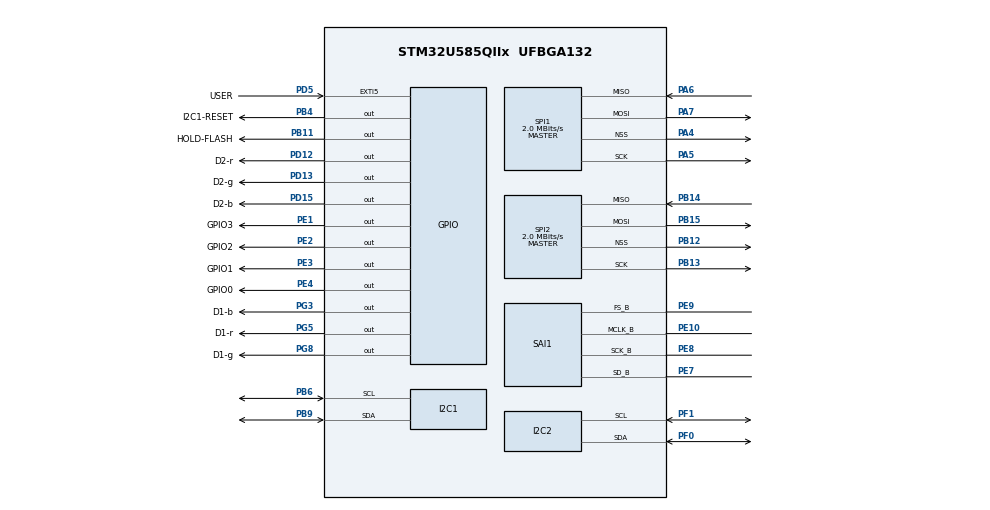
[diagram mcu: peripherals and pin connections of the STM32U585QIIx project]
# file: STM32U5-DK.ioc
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CORTEX_M33_NS.userName=CORTEX_M33
I2C1.Timing=0x00000E14
I2C2.Timing=0x00000E14
Mcu.Family=STM32U5
Mcu.Name=STM32U585QIIx
Mcu.Package=UFBGA132
NVIC.EXTI5_IRQn=true\:0\:0\:false\:false\:true\:true\:true
NVIC.PriorityGroup=NVIC_PRIORITYGROUP_4
PA13\ (JTMS/SWDIO).Mode=Trace_Asynchronous_SW
PA13\ (JTMS/SWDIO).Signal=DEBUG_JTMS-SWDIO
PA14\ (JTCK/SWCLK).Mode=Trace_Asynchronous_SW
PA14\ (JTCK/SWCLK).Signal=DEBUG_JTCK-SWCLK
PA4.Mode=NSS_Signal_Hard_Output
PA4.Signal=SPI1_NSS
PA5.Mode=Full_Duplex_Master
PA5.Signal=SPI1_SCK
PA6.Mode=Full_Duplex_Master
PA6.Signal=SPI1_MISO
PA7.Mode=Full_Duplex_Master
PA7.Signal=SPI1_MOSI
PB11.GPIO_Label=HOLD-FLASH
PB11.Signal=GPIO_Output
PB12.Mode=NSS_Signal_Hard_Output
PB12.Signal=SPI2_NSS
PB13.Mode=Full_Duplex_Master
PB13.Signal=SPI2_SCK
PB14.Mode=Full_Duplex_Master
PB14.Signal=SPI2_MISO
PB15.Mode=Full_Duplex_Master
PB15.Signal=SPI2_MOSI
PB3\ (JTDO/TRACESWO).Mode=Trace_Asynchronous_SW
PB3\ (JTDO/TRACESWO).Signal=DEBUG_JTDO-SWO
PB4\ (NJTRST).GPIO_Label=I2C1-RESET
PB4\ (NJTRST).Signal=GPIO_Output
PB6.Mode=I2C
PB6.Signal=I2C1_SCL
PB9.Mode=I2C
PB9.Signal=I2C1_SDA
PD12.GPIO_Label=D2-r
PD12.Signal=GPIO_Output
PD13.GPIO_Label=D2-g
PD13.Signal=GPIO_Output
PD15.GPIO_Label=D2-b
PD15.Signal=GPIO_Output
PD5.GPIO_Label=USER
PD5.GPIO_ModeDefaultEXTI=GPIO_MODE_IT_FALLING
PD5.Signal=GPXTI5
PE1.GPIO_Label=GPIO3
PE1.Signal=GPIO_Output
PE10.Mode=SAI_B_MasterWithClock
PE10.Signal=SAI1_MCLK_B
PE2.GPIO_Label=GPIO2
PE2.Signal=GPIO_Output
PE3.GPIO_Label=GPIO1
PE3.Signal=GPIO_Output
PE4.GPIO_Label=GPIO0
PE4.Signal=GPIO_Output
PE7.Mode=SAI_B_MasterWithClock
PE7.Signal=SAI1_SD_B
PE8.Mode=SAI_B_MasterWithClock
PE8.Signal=SAI1_SCK_B
PE9.Mode=SAI_B_MasterWithClock
PE9.Signal=SAI1_FS_B
PF0.Mode=I2C
PF0.Signal=I2C2_SDA
PF1.Mode=I2C
PF1.Signal=I2C2_SCL
PG3.GPIO_Label=D1-b
PG3.Signal=GPIO_Output
PG5.GPIO_Label=D1-r
PG5.Signal=GPIO_Output
PG8.GPIO_Label=D1-g
PG8.Signal=GPIO_Output
ProjectManager.HeapSize=0x200
ProjectManager.StackSize=0x400
ProjectManager.TargetToolchain=STM32CubeIDE
RCC.DACCLockSelectionVirtual=RCC_DAC1CLKSOURCE_LSI
RCC.DACCLockSelectionVirtualString=RCC_DAC1CLKSOURCE_LSI
RCC.EPOD_VALUE=4000000
RCC.HSE_VALUE=16000000
RCC.HSI48_VALUE=48000000
RCC.HSI_VALUE=16000000
RCC.LSE_VALUE=32768
RCC.LSIDIV_VALUE=32000
RCC.MSI_VALUE=4000000
RCC.PLL2P=4
RCC.USBFreq_Value=48000000
RCC.VCOOutputFreq_Value=516000000
SAI1.ErrorAudioFreq-SAI_B_MasterWithClock=31.22 %
SAI1.Instance-SAI_B_MasterWithClock=SAI$Index_Block_B
SAI1.MckOutput-SAI_B_MasterWithClock=SAI_MCK_OUTPUT_ENABLE
SAI1.RealAudioFreq-SAI_B_MasterWithClock=251.953 KHz
SAI1.VirtualMode-SAI_B_MasterWithClock=VM_MASTER
SPI1.CalculateBaudRate=2.0 MBits/s
SPI1.Direction=SPI_DIRECTION_2LINES
SPI1.Mode=SPI_MODE_MASTER
SPI1.VirtualNSS=VM_NSSHARD
SPI1.VirtualType=VM_MASTER
SPI2.CalculateBaudRate=2.0 MBits/s
SPI2.Direction=SPI_DIRECTION_2LINES
SPI2.Mode=SPI_MODE_MASTER
SPI2.VirtualNSS=VM_NSSHARD
SPI2.VirtualType=VM_MASTER
VP_PWR_VS_DBSignals.Mode=DisableDeadBatterySignals
VP_PWR_VS_SECSignals.Mode=Security/Privilege
board=custom

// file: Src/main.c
/* USER CODE BEGIN Header */
/**
  ******************************************************************************
  * @file           : main.c
  * @brief          : Main program body
  ******************************************************************************
  * @attention
  *
  * Copyright (c) 2022 STMicroelectronics.
  * All rights reserved.
  *
  * This software is licensed under terms that can be found in the LICENSE file
  * in the root directory of this software component.
  * If no LICENSE file comes with this software, it is provided AS-IS.
  *
  ******************************************************************************
  */
/* USER CODE END Header */
#include "main.h"
#include "HAL/i2c.h"
#include "HAL/sai.h"
#include "HAL/spi.h"
#include "HAL/gpio.h"

/* USER CODE BEGIN Includes */
#include "usb_device.h"
#include "manager/ledManager.h"
#include "manager/flashManager.h"
/* USER CODE END Includes */

/* USER CODE BEGIN PV */
uint8_t gpioChannel = 0;
RGBLEDColor userColor = {0};
/* USER CODE END PV */

void SystemClock_Config(void);

/* USER CODE BEGIN 0 */
void outputExternalGPIOs();
/* USER CODE END 0 */

int main(void)
{
  /* USER CODE BEGIN 1 */
    RGBLEDColor wakeUpColor = {0, 1, 0};
    RGBLEDColor errorColor = {1, 0, 0};
  /* USER CODE END 1 */

  /* MCU Configuration--------------------------------------------------------*/

  /* Reset of all peripherals, Initializes the Flash interface and the Systick. */
  HAL_Init();
  HAL_PWREx_EnableVddIO2();

  /* Configure the system clock */
  SystemClock_Config();

  /* Initialize all configured peripherals */
  MX_GPIO_Init();
  MX_I2C1_Init();
  MX_I2C2_Init();
  MX_SAI1_Init();
  MX_SPI1_Init();
  MX_SPI2_Init();
  /* USER CODE BEGIN 2 */
  MX_USB_Device_Init();

  LedManagerInit();

  LedManagerSetColor(LED_DO0, wakeUpColor);
  LedManagerSetColor(LED_DO1, wakeUpColor);
  LedManagerSetColor(LED_DO2, wakeUpColor);
  LedManagerSetColor(LED_DO3, wakeUpColor);

  if(flashManagerInit())
  {
      LedManagerSetColor(LED_D2, wakeUpColor);
  }else{
      LedManagerSetColor(LED_D2, errorColor);
  }
  /* USER CODE END 2 */

  /* Infinite loop */
  while (1)
  {

  }
}

void SystemClock_Config(void)
{
  RCC_OscInitTypeDef RCC_OscInitStruct = {0};
  RCC_ClkInitTypeDef RCC_ClkInitStruct = {0};

  /** Configure the main internal regulator output voltage
  */
  if (HAL_PWREx_ControlVoltageScaling(PWR_REGULATOR_VOLTAGE_SCALE3) != HAL_OK)
  {
    Error_Handler();
  }
  /** Initializes the CPU, AHB and APB busses clocks
  */
  RCC_OscInitStruct.OscillatorType = RCC_OSCILLATORTYPE_MSI;
  RCC_OscInitStruct.MSIState = RCC_MSI_ON;
  RCC_OscInitStruct.MSICalibrationValue = RCC_MSICALIBRATION_DEFAULT;
  RCC_OscInitStruct.MSIClockRange = RCC_MSIRANGE_4;
  RCC_OscInitStruct.PLL.PLLState = RCC_PLL_NONE;
  if (HAL_RCC_OscConfig(&RCC_OscInitStruct) != HAL_OK)
  {
    Error_Handler();
  }
  /** Initializes the CPU, AHB and APB busses clocks
  */
  RCC_ClkInitStruct.ClockType = RCC_CLOCKTYPE_HCLK|RCC_CLOCKTYPE_SYSCLK
                              |RCC_CLOCKTYPE_PCLK1|RCC_CLOCKTYPE_PCLK2
                              |RCC_CLOCKTYPE_PCLK3;
  RCC_ClkInitStruct.SYSCLKSource = RCC_SYSCLKSOURCE_MSI;
  RCC_ClkInitStruct.AHBCLKDivider = RCC_SYSCLK_DIV1;
  RCC_ClkInitStruct.APB1CLKDivider = RCC_HCLK_DIV1;
  RCC_ClkInitStruct.APB2CLKDivider = RCC_HCLK_DIV1;
  RCC_ClkInitStruct.APB3CLKDivider = RCC_HCLK_DIV1;

  if (HAL_RCC_ClockConfig(&RCC_ClkInitStruct, FLASH_LATENCY_0) != HAL_OK)
  {
    Error_Handler();
  }
  __HAL_RCC_PWR_CLK_DISABLE();
}

/* USER CODE BEGIN 4 */
void HAL_GPIO_EXTI_Falling_Callback(uint16_t GPIO_Pin)
{
    if(GPIO_Pin == USER_Pin)
    {
        userColor.raw = (userColor.raw + 1) & 0b0111;
        LedManagerSetColor(LED_D1, userColor);

        gpioChannel = (gpioChannel + 1) & 0b1111;
        outputExternalGPIOs();
    }
}

void outputExternalGPIOs()
{
    HAL_GPIO_WritePin(GPIO0_GPIO_Port, GPIO0_Pin, gpioChannel & 0b0001);
    HAL_GPIO_WritePin(GPIO1_GPIO_Port, GPIO1_Pin, (gpioChannel >> 1)& 0b0001);
    HAL_GPIO_WritePin(GPIO2_GPIO_Port, GPIO2_Pin, (gpioChannel >> 2)& 0b0001);
    HAL_GPIO_WritePin(GPIO3_GPIO_Port, GPIO3_Pin, (gpioChannel >> 3)& 0b0001);
}
/* USER CODE END 4 */

void Error_Handler(void)
{
  __disable_irq();
  while (1)
  {
  }
}
